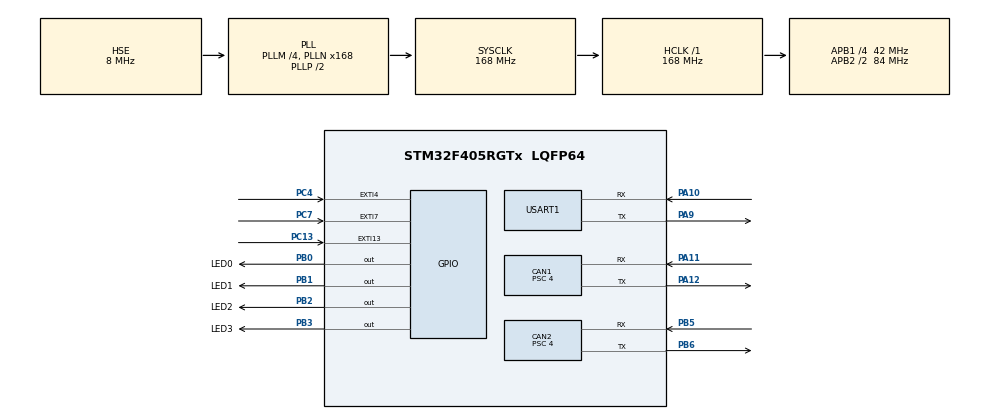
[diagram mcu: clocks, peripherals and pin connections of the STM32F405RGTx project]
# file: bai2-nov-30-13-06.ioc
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CAN1.ABOM=ENABLE
CAN1.AWUM=ENABLE
CAN1.BS1=CAN_BS1_16TQ
CAN1.BS2=CAN_BS2_4TQ
CAN1.CalculateBaudRate=500000
CAN1.CalculateTimeBit=2000
CAN1.CalculateTimeQuantum=95.23809523809524
CAN1.Prescaler=4
CAN1.SJW=CAN_SJW_2TQ
CAN2.ABOM=ENABLE
CAN2.AWUM=ENABLE
CAN2.BS1=CAN_BS1_16TQ
CAN2.BS2=CAN_BS2_4TQ
CAN2.CalculateBaudRate=500000
CAN2.CalculateTimeBit=2000
CAN2.CalculateTimeQuantum=95.23809523809524
CAN2.Prescaler=4
CAN2.SJW=CAN_SJW_2TQ
Mcu.Family=STM32F4
Mcu.Name=STM32F405RGTx
Mcu.Package=LQFP64
NVIC.CAN1_RX0_IRQn=true\:0\:0\:false\:false\:true\:true\:true\:true
NVIC.CAN2_RX1_IRQn=true\:0\:0\:false\:false\:true\:true\:true\:true
NVIC.EXTI15_10_IRQn=true\:0\:0\:false\:false\:true\:true\:true\:true
NVIC.EXTI4_IRQn=true\:0\:0\:false\:false\:true\:true\:true\:true
NVIC.EXTI9_5_IRQn=true\:0\:0\:false\:false\:true\:true\:true\:true
NVIC.PriorityGroup=NVIC_PRIORITYGROUP_4
NVIC.TIM2_IRQn=true\:0\:0\:false\:false\:true\:true\:true\:true
PA10.Mode=Asynchronous
PA10.Signal=USART1_RX
PA11.Mode=CAN_Activate
PA11.Signal=CAN1_RX
PA12.Mode=CAN_Activate
PA12.Signal=CAN1_TX
PA13.Mode=Serial_Wire
PA13.Signal=SYS_JTMS-SWDIO
PA14.Mode=Serial_Wire
PA14.Signal=SYS_JTCK-SWCLK
PA9.Mode=Asynchronous
PA9.Signal=USART1_TX
PB0.GPIO_Label=LED0
PB0.Signal=GPIO_Output
PB1.GPIO_Label=LED1
PB1.Signal=GPIO_Output
PB2.GPIO_Label=LED2
PB2.Signal=GPIO_Output
PB3.GPIO_Label=LED3
PB3.Signal=GPIO_Output
PB5.Mode=CAN_Activate
PB5.Signal=CAN2_RX
PB6.Mode=CAN_Activate
PB6.Signal=CAN2_TX
PC13-ANTI_TAMP.GPIO_PuPd=GPIO_PULLUP
PC13-ANTI_TAMP.Signal=GPXTI13
PC4.GPIO_PuPd=GPIO_PULLUP
PC4.Signal=GPXTI4
PC7.GPIO_PuPd=GPIO_PULLUP
PC7.Signal=GPXTI7
PH0-OSC_IN.Mode=HSE-External-Oscillator
PH0-OSC_IN.Signal=RCC_OSC_IN
PH1-OSC_OUT.Mode=HSE-External-Oscillator
PH1-OSC_OUT.Signal=RCC_OSC_OUT
ProjectManager.HeapSize=0x200
ProjectManager.StackSize=0x400
ProjectManager.TargetToolchain=STM32CubeIDE
RCC.48MHZClocksFreq_Value=84000000
RCC.AHBFreq_Value=168000000
RCC.APB1CLKDivider=RCC_HCLK_DIV4
RCC.APB1Freq_Value=42000000
RCC.APB1TimFreq_Value=84000000
RCC.APB2CLKDivider=RCC_HCLK_DIV2
RCC.APB2Freq_Value=84000000
RCC.APB2TimFreq_Value=168000000
RCC.CortexFreq_Value=168000000
RCC.HCLKFreq_Value=168000000
RCC.HSE_VALUE=8000000
RCC.HSI_VALUE=16000000
RCC.LSE_VALUE=32768
RCC.PLLM=4
RCC.PLLN=168
RCC.PLLSourceVirtual=RCC_PLLSOURCE_HSE
RCC.SYSCLKFreq_VALUE=168000000
RCC.SYSCLKSource=RCC_SYSCLKSOURCE_PLLCLK
RCC.VCOOutputFreq_Value=336000000
TIM2.Period=9999
TIM2.Prescaler=8399
USART1.VirtualMode=VM_ASYNC
VP_TIM2_VS_ClockSourceINT.Mode=Internal
board=custom

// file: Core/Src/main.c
/* USER CODE BEGIN Header */
/** bai2
 ******************************************************************************
 * @file           : main.c
 * @brief          : Main program body
 ******************************************************************************
 * @attention
 *
 * Copyright (c) 2022 STMicroelectronics.
 * All rights reserved.
 *
 * This software is licensed under terms that can be found in the LICENSE file
 * in the root directory of this software component.
 * If no LICENSE file comes with this software, it is provided AS-IS.
 *
 ******************************************************************************
 */
/* USER CODE END Header */
#include "main.h"

/* USER CODE BEGIN Includes */
#include <stdio.h>
#include <string.h>
/* USER CODE END Includes */

/* USER CODE BEGIN PD */
#define SIGNAL_LEN 6
/* USER CODE END PD */

CAN_HandleTypeDef hcan1;
CAN_HandleTypeDef hcan2;

TIM_HandleTypeDef htim2;

UART_HandleTypeDef huart1;

/* USER CODE BEGIN PV */
CAN_TxHeaderTypeDef Node1_TxHeader;
CAN_RxHeaderTypeDef Node1_RxHeader;

uint8_t Node1_TxData[8];
uint8_t Node1_RxData[8];

uint32_t Node1_TxMailbox;

int timer_rq = 0;
uint16_t var1 = 0;
uint8_t left_button = 0;
uint8_t right_button = 0;
uint8_t middle_button = 0;
uint16_t data_length;
uint8_t number_CF;
uint8_t current_pos;
uint8_t SNum;

uint8_t LEFT_DATA[SIGNAL_LEN] = {0xAA, 0xAA, 0xAA, 0xAA, 0xAA, 0xAA};
uint8_t RIGHT_DATA[SIGNAL_LEN] = {0xFF, 0xFF, 0xFF, 0xFF, 0xFF, 0xFF};
uint8_t MIDDLE_DATA[SIGNAL_LEN] = {0x00, 0x00, 0x00, 0x00, 0x00, 0x00};

uint8_t is_get_Write_data_by_id_node1 = 0;
uint8_t is_get_Write_data_by_id_node2 = 0;
CAN_TxHeaderTypeDef Node2_TxHeader;
CAN_RxHeaderTypeDef Node2_RxHeader;

uint8_t Node2_TxData[8];
uint8_t Node2_RxData[8];

uint32_t Node2_TxMailbox;
/* USER CODE END PV */

void SystemClock_Config(void);
static void MX_GPIO_Init(void);
static void MX_CAN1_Init(void);
static void MX_CAN2_Init(void);
static void MX_USART1_UART_Init(void);
static void MX_TIM2_Init(void);
/* USER CODE BEGIN PFP */
#ifdef __GNUC__
/* With GCC/RAISONANCE, small printf (option LD Linker->Libraries->Small printf
 set to 'Yes') calls __io_putchar() */
#define PUTCHAR_PROTOTYPE int __io_putchar(int ch)
#else
 #define PUTCHAR_PROTOTYPE int fputc(int ch, FILE *f)
#endif /* __GNUC__ */

/* USER CODE END PFP */

/* USER CODE BEGIN 0 */
void HAL_CAN_RxFifo0MsgPendingCallback(CAN_HandleTypeDef *hcan)
{
	HAL_CAN_GetRxMessage(hcan, CAN_RX_FIFO0, &Node1_RxHeader, Node1_RxData);
	if (Node1_RxHeader.StdId == 0x7A2 && (Node1_RxData[0] >> 4) == 0x3) //Flow control
	{
		HAL_GPIO_TogglePin(LED1_GPIO_Port, LED1_Pin);
		//printf("Tester received FC: %x-%x-%x-%x-%x-%x-%x-%x\r\n\n", Node1_RxData[0],Node1_RxData[1],Node1_RxData[2],Node1_RxData[3], Node1_RxData[4], Node1_RxData[5], Node1_RxData[6], Node1_RxData[7]);

		SNum = 0x00;

		if((data_length-3) % 7 == 0)
			number_CF = (data_length-3)/7;
		else
			number_CF = ((data_length-3)/7) + 1;

		if(left_button == 1 && SNum <= 0x0F)
		{
			for(int i = 0; i < number_CF; i++)
			{
				Node1_TxData[0] = 0x21 + SNum;
				SNum += 0x01;
				for(int j = 1; j<8; j++)
				{
					if(current_pos <= SIGNAL_LEN)
						Node1_TxData[j]=LEFT_DATA[current_pos++];
					else
						Node1_TxData[j] = 0x00;
				}

				//printf("Tester send CF: %x-%x-%x-%x-%x-%x-%x-%x\r\n", Node1_TxData[0],Node1_TxData[1],Node1_TxData[2],Node1_TxData[3], Node1_TxData[4], Node1_TxData[5], Node1_TxData[6], Node1_TxData[7]);
				HAL_CAN_AddTxMessage(&hcan1, &Node1_TxHeader, Node1_TxData, &Node1_TxMailbox);
			}
		left_button = 0;
		}

		else if(right_button == 1 && SNum <= 0x0F)
		{
			for(int i = 0; i < number_CF; i++)
			{
				Node1_TxData[0] = 0x21 + SNum;
				SNum += 0x01;
				for(int j = 1; j<8; j++)
				{
					if(current_pos <= SIGNAL_LEN)
						Node1_TxData[j]=RIGHT_DATA[current_pos++];
					else
						Node1_TxData[j] = 0x00;
				}

				printf("Tester send CF: %x-%x-%x-%x-%x-%x-%x-%x\r\n", Node1_TxData[0],Node1_TxData[1],Node1_TxData[2],Node1_TxData[3], Node1_TxData[4], Node1_TxData[5], Node1_TxData[6], Node1_TxData[7]);
				HAL_CAN_AddTxMessage(&hcan1, &Node1_TxHeader, Node1_TxData, &Node1_TxMailbox);
			}
		right_button = 0;
		}

		else if(middle_button == 1 && SNum <= 0x0F)
		{
			for(int i = 0; i < number_CF; i++)
			{
				Node1_TxData[0] = 0x21 + SNum;
				SNum += 0x01;
				for(int j = 1; j<8; j++)
				{
					if(current_pos <= SIGNAL_LEN)
						Node1_TxData[j]=MIDDLE_DATA[current_pos++];
					else
						Node1_TxData[j] = 0x00;
				}

				printf("Tester send CF: %x-%x-%x-%x-%x-%x-%x-%x\r\n", Node1_TxData[0],Node1_TxData[1],Node1_TxData[2],Node1_TxData[3], Node1_TxData[4], Node1_TxData[5], Node1_TxData[6], Node1_TxData[7]);
				HAL_CAN_AddTxMessage(&hcan1, &Node1_TxHeader, Node1_TxData, &Node1_TxMailbox);
			}
		middle_button = 0;
		}
	}
}

void HAL_CAN_RxFifo1MsgPendingCallback(CAN_HandleTypeDef *hcan)
{
	HAL_CAN_GetRxMessage(hcan, CAN_RX_FIFO1, &Node2_RxHeader, Node2_RxData);
	if (Node2_RxHeader.StdId == 0x712 && Node2_RxData[2] == 0x2E && (Node2_RxData[0] >> 4) == 0x1 && Node2_RxData[3] == 0xF0 && Node2_RxData[4] == 0x02) //write data by Identifier and First frame
	{

		HAL_GPIO_TogglePin(LED1_GPIO_Port, LED2_Pin);
		printf("MCU received FF: %x-%x-%x-%x-%x-%x-%x-%x\r\n\n", Node2_RxData[0],Node2_RxData[1],Node2_RxData[2],Node2_RxData[3], Node2_RxData[4], Node2_RxData[5], Node2_RxData[6], Node2_RxData[7]);

		Node2_TxData[0] = 0x30;
		Node2_TxData[1] = 0x00;
		Node2_TxData[2] = 0x00;
		Node2_TxData[3] = 0x00;	//2E + 40
		Node2_TxData[4] = 0x00;
		Node2_TxData[5] = 0x00;
		Node2_TxData[6] = 0x00;
		Node2_TxData[7] = 0x00;

		printf("MCU send FC: %x-%x-%x-%x-%x-%x-%x-%x\r\n", Node2_TxData[0],Node2_TxData[1],Node2_TxData[2],Node2_TxData[3], Node2_TxData[4], Node2_TxData[5], Node2_TxData[6], Node2_TxData[7]);
		HAL_CAN_AddTxMessage(&hcan2, &Node2_TxHeader, Node2_TxData, &Node2_TxMailbox);
	}

	if(Node2_RxHeader.StdId == 0x712 && (Node2_RxData[0] >> 4) == 0x2)
	{
		HAL_GPIO_TogglePin(LED1_GPIO_Port, LED2_Pin);
		printf("MCU received CF: %x-%x-%x-%x-%x-%x-%x-%x\r\n", Node2_RxData[0],Node2_RxData[1],Node2_RxData[2],Node2_RxData[3], Node2_RxData[4], Node2_RxData[5], Node2_RxData[6], Node2_RxData[7]);
	}
}
void HAL_TIM_PeriodElapsedCallback(TIM_HandleTypeDef *htim)
{
	if(htim->Instance == htim2.Instance)
	{
		timer_rq = 1;
	}
}

/* USER CODE END 0 */

int main(void)
{
  /* USER CODE BEGIN 1 */
	printf("Start programming 0...\r\n");
  /* USER CODE END 1 */

  /* MCU Configuration--------------------------------------------------------*/

  /* Reset of all peripherals, Initializes the Flash interface and the Systick. */
  HAL_Init();

  /* Configure the system clock */
  SystemClock_Config();

  /* Initialize all configured peripherals */
  MX_GPIO_Init();
  MX_CAN1_Init();
  MX_CAN2_Init();
  MX_USART1_UART_Init();
  MX_TIM2_Init();
  /* USER CODE BEGIN 2 */
  HAL_CAN_Start(&hcan1);
  HAL_CAN_Start(&hcan2);
  // start timer 2
  HAL_TIM_Base_Start_IT(&htim2);

  // Activate the notification
  HAL_CAN_ActivateNotification(&hcan1, CAN_IT_RX_FIFO0_MSG_PENDING);
  // Activate the notification
  HAL_CAN_ActivateNotification(&hcan2, CAN_IT_RX_FIFO1_MSG_PENDING);

  Node1_TxHeader.DLC = 8;  // data length
  Node1_TxHeader.IDE = CAN_ID_STD;
  Node1_TxHeader.RTR = CAN_RTR_DATA;
  Node1_TxHeader.StdId = 0x712;  // ID

  //FF: First Frame
  Node1_TxData[0] = 0x10;
  Node1_TxData[1] = 0x0A;
  Node1_TxData[2] = 0x2E;
  Node1_TxData[3] = 0xF0;
  Node1_TxData[4] = 0x02;
  Node1_TxData[5] = 0x00;
  Node1_TxData[6] = 0x00;
  Node1_TxData[7] = 0x00;

  Node2_TxHeader.DLC = 8;  // data length
  Node2_TxHeader.IDE = CAN_ID_STD;
  Node2_TxHeader.RTR = CAN_RTR_DATA;
  Node2_TxHeader.StdId = 0x7A2;  // ID

  Node2_TxData[0] = 0x00;
  Node2_TxData[1] = 0x00;
  Node2_TxData[2] = 0x00;
  Node2_TxData[3] = 0x00;
  Node2_TxData[4] = 0x00;
  Node2_TxData[5] = 0x00;
  Node2_TxData[6] = 0x00;
  Node2_TxData[7] = 0x00;

	printf("Start programming 1...\r\n");
  /* USER CODE END 2 */

  /* Infinite loop */
  while (1)
  {

    /* USER CODE BEGIN 3 */

	  HAL_GPIO_TogglePin(LED0_GPIO_Port, LED0_Pin);
	  if ((left_button == 1) || (right_button == 1) || (middle_button == 1))
	  {
		  //Send first frame
		  current_pos = 0;

		  Node1_TxData[0] = 0x10;
		  Node1_TxData[1] = 0x0A; // 0x019 : 0000 0001 1001
		  Node1_TxData[2] = 0x2E;

		  //DATA ID
		  Node1_TxData[3] = 0xF0;
		  Node1_TxData[4] = 0x02;

		  if(left_button == 1)
		  {
			  Node1_TxData[5] = LEFT_DATA[current_pos++];
		  	  Node1_TxData[6] = LEFT_DATA[current_pos++];
		  	  Node1_TxData[7] = LEFT_DATA[current_pos++];
		  }
		  else if(right_button == 1)
		  {
			  Node1_TxData[5] = RIGHT_DATA[current_pos++];
			  Node1_TxData[6] = RIGHT_DATA[current_pos++];
			  Node1_TxData[7] = RIGHT_DATA[current_pos++];
		  }
		  else if(middle_button == 1)
		  {
			  Node1_TxData[5] = MIDDLE_DATA[current_pos++];
			  Node1_TxData[6] = MIDDLE_DATA[current_pos++];
			  Node1_TxData[7] = MIDDLE_DATA[current_pos++];
		  }

		  data_length = (Node1_TxData[0] & 0x0f) + Node1_TxData[1];

		  //printf("\n\n\n\nTester send FF: %x-%x-%x-%x-%x-%x-%x-%x\r\n", Node1_TxData[0], Node1_TxData[1],Node1_TxData[2],Node1_TxData[3], Node1_TxData[4], Node1_TxData[5], Node1_TxData[6], Node1_TxData[7]);
		  HAL_CAN_AddTxMessage(&hcan1, &Node1_TxHeader, Node1_TxData, &Node1_TxMailbox);
	  }
	  HAL_Delay(10);

  }
  /* USER CODE END 3 */
}

void SystemClock_Config(void)
{
  RCC_OscInitTypeDef RCC_OscInitStruct = {0};
  RCC_ClkInitTypeDef RCC_ClkInitStruct = {0};

  /** Configure the main internal regulator output voltage
  */
  __HAL_RCC_PWR_CLK_ENABLE();
  __HAL_PWR_VOLTAGESCALING_CONFIG(PWR_REGULATOR_VOLTAGE_SCALE1);

  /** Initializes the RCC Oscillators according to the specified parameters
  * in the RCC_OscInitTypeDef structure.
  */
  RCC_OscInitStruct.OscillatorType = RCC_OSCILLATORTYPE_HSE;
  RCC_OscInitStruct.HSEState = RCC_HSE_ON;
  RCC_OscInitStruct.PLL.PLLState = RCC_PLL_ON;
  RCC_OscInitStruct.PLL.PLLSource = RCC_PLLSOURCE_HSE;
  RCC_OscInitStruct.PLL.PLLM = 4;
  RCC_OscInitStruct.PLL.PLLN = 168;
  RCC_OscInitStruct.PLL.PLLP = RCC_PLLP_DIV2;
  RCC_OscInitStruct.PLL.PLLQ = 4;
  if (HAL_RCC_OscConfig(&RCC_OscInitStruct) != HAL_OK)
  {
    Error_Handler();
  }

  /** Initializes the CPU, AHB and APB buses clocks
  */
  RCC_ClkInitStruct.ClockType = RCC_CLOCKTYPE_HCLK|RCC_CLOCKTYPE_SYSCLK
                              |RCC_CLOCKTYPE_PCLK1|RCC_CLOCKTYPE_PCLK2;
  RCC_ClkInitStruct.SYSCLKSource = RCC_SYSCLKSOURCE_PLLCLK;
  RCC_ClkInitStruct.AHBCLKDivider = RCC_SYSCLK_DIV1;
  RCC_ClkInitStruct.APB1CLKDivider = RCC_HCLK_DIV4;
  RCC_ClkInitStruct.APB2CLKDivider = RCC_HCLK_DIV2;

  if (HAL_RCC_ClockConfig(&RCC_ClkInitStruct, FLASH_LATENCY_5) != HAL_OK)
  {
    Error_Handler();
  }
}

static void MX_CAN1_Init(void)
{

  hcan1.Instance = CAN1;
  hcan1.Init.Prescaler = 4;
  hcan1.Init.Mode = CAN_MODE_NORMAL;
  hcan1.Init.SyncJumpWidth = CAN_SJW_2TQ;
  hcan1.Init.TimeSeg1 = CAN_BS1_16TQ;
  hcan1.Init.TimeSeg2 = CAN_BS2_4TQ;
  hcan1.Init.TimeTriggeredMode = DISABLE;
  hcan1.Init.AutoBusOff = ENABLE;
  hcan1.Init.AutoWakeUp = ENABLE;
  hcan1.Init.AutoRetransmission = DISABLE;
  hcan1.Init.ReceiveFifoLocked = DISABLE;
  hcan1.Init.TransmitFifoPriority = DISABLE;
  if (HAL_CAN_Init(&hcan1) != HAL_OK)
  {
    Error_Handler();
  }
  /* USER CODE BEGIN CAN1_Init 2 */
  CAN_FilterTypeDef canfilterconfig;

  canfilterconfig.FilterActivation = CAN_FILTER_ENABLE;
  canfilterconfig.FilterBank = 18; // which filter bank to use from the assigned ones
  canfilterconfig.FilterFIFOAssignment = CAN_FILTER_FIFO0;
  canfilterconfig.FilterIdHigh = 0x7A2 << 5;
  canfilterconfig.FilterIdLow = 0;
  canfilterconfig.FilterMaskIdHigh = 0x7A2 << 5;
  canfilterconfig.FilterMaskIdLow = 0x0000;
  canfilterconfig.FilterMode = CAN_FILTERMODE_IDMASK;
  canfilterconfig.FilterScale = CAN_FILTERSCALE_32BIT;
  canfilterconfig.SlaveStartFilterBank = 20; // how many filters to assign to the CAN1 (master can)

  HAL_CAN_ConfigFilter(&hcan1, &canfilterconfig);
  /* USER CODE END CAN1_Init 2 */

}

static void MX_CAN2_Init(void)
{

  hcan2.Instance = CAN2;
  hcan2.Init.Prescaler = 4;
  hcan2.Init.Mode = CAN_MODE_NORMAL;
  hcan2.Init.SyncJumpWidth = CAN_SJW_2TQ;
  hcan2.Init.TimeSeg1 = CAN_BS1_16TQ;
  hcan2.Init.TimeSeg2 = CAN_BS2_4TQ;
  hcan2.Init.TimeTriggeredMode = DISABLE;
  hcan2.Init.AutoBusOff = ENABLE;
  hcan2.Init.AutoWakeUp = ENABLE;
  hcan2.Init.AutoRetransmission = DISABLE;
  hcan2.Init.ReceiveFifoLocked = DISABLE;
  hcan2.Init.TransmitFifoPriority = DISABLE;
  if (HAL_CAN_Init(&hcan2) != HAL_OK)
  {
    Error_Handler();
  }
  /* USER CODE BEGIN CAN2_Init 2 */
  CAN_FilterTypeDef canfilterconfig;

  canfilterconfig.FilterActivation = CAN_FILTER_ENABLE;
  canfilterconfig.FilterBank = 10; // which filter bank to use from the assigned ones
  canfilterconfig.FilterFIFOAssignment = CAN_FILTER_FIFO1;
  canfilterconfig.FilterIdHigh = 0x712 << 5;
  canfilterconfig.FilterIdLow = 0;
  canfilterconfig.FilterMaskIdHigh = 0x712 << 5;
  canfilterconfig.FilterMaskIdLow = 0x0000;
  canfilterconfig.FilterMode = CAN_FILTERMODE_IDMASK;
  canfilterconfig.FilterScale = CAN_FILTERSCALE_32BIT;
  canfilterconfig.SlaveStartFilterBank = 0; // doesn't matter in single can controllers

  HAL_CAN_ConfigFilter(&hcan2, &canfilterconfig);
  /* USER CODE END CAN2_Init 2 */

}

static void MX_TIM2_Init(void)
{

  TIM_ClockConfigTypeDef sClockSourceConfig = {0};
  TIM_MasterConfigTypeDef sMasterConfig = {0};

  htim2.Instance = TIM2;
  htim2.Init.Prescaler = 8399;
  htim2.Init.CounterMode = TIM_COUNTERMODE_UP;
  htim2.Init.Period = 9999;
  htim2.Init.ClockDivision = TIM_CLOCKDIVISION_DIV1;
  htim2.Init.AutoReloadPreload = TIM_AUTORELOAD_PRELOAD_DISABLE;
  if (HAL_TIM_Base_Init(&htim2) != HAL_OK)
  {
    Error_Handler();
  }
  sClockSourceConfig.ClockSource = TIM_CLOCKSOURCE_INTERNAL;
  if (HAL_TIM_ConfigClockSource(&htim2, &sClockSourceConfig) != HAL_OK)
  {
    Error_Handler();
  }
  sMasterConfig.MasterOutputTrigger = TIM_TRGO_RESET;
  sMasterConfig.MasterSlaveMode = TIM_MASTERSLAVEMODE_DISABLE;
  if (HAL_TIMEx_MasterConfigSynchronization(&htim2, &sMasterConfig) != HAL_OK)
  {
    Error_Handler();
  }

}

static void MX_USART1_UART_Init(void)
{

  huart1.Instance = USART1;
  huart1.Init.BaudRate = 115200;
  huart1.Init.WordLength = UART_WORDLENGTH_8B;
  huart1.Init.StopBits = UART_STOPBITS_1;
  huart1.Init.Parity = UART_PARITY_NONE;
  huart1.Init.Mode = UART_MODE_TX_RX;
  huart1.Init.HwFlowCtl = UART_HWCONTROL_NONE;
  huart1.Init.OverSampling = UART_OVERSAMPLING_16;
  if (HAL_UART_Init(&huart1) != HAL_OK)
  {
    Error_Handler();
  }

}

static void MX_GPIO_Init(void)
{
  GPIO_InitTypeDef GPIO_InitStruct = {0};

  /* GPIO Ports Clock Enable */
  __HAL_RCC_GPIOC_CLK_ENABLE();
  __HAL_RCC_GPIOH_CLK_ENABLE();
  __HAL_RCC_GPIOB_CLK_ENABLE();
  __HAL_RCC_GPIOA_CLK_ENABLE();

  /*Configure GPIO pin Output Level */
  HAL_GPIO_WritePin(GPIOB, LED0_Pin|LED1_Pin|LED2_Pin|LED3_Pin, GPIO_PIN_RESET);

  /*Configure GPIO pins : PC13 PC4 PC7 */
  GPIO_InitStruct.Pin = GPIO_PIN_13|GPIO_PIN_4|GPIO_PIN_7;
  GPIO_InitStruct.Mode = GPIO_MODE_IT_RISING;
  GPIO_InitStruct.Pull = GPIO_PULLUP;
  HAL_GPIO_Init(GPIOC, &GPIO_InitStruct);

  /*Configure GPIO pins : LED0_Pin LED1_Pin LED2_Pin LED3_Pin */
  GPIO_InitStruct.Pin = LED0_Pin|LED1_Pin|LED2_Pin|LED3_Pin;
  GPIO_InitStruct.Mode = GPIO_MODE_OUTPUT_PP;
  GPIO_InitStruct.Pull = GPIO_NOPULL;
  GPIO_InitStruct.Speed = GPIO_SPEED_FREQ_LOW;
  HAL_GPIO_Init(GPIOB, &GPIO_InitStruct);

  /* EXTI interrupt init*/
  HAL_NVIC_SetPriority(EXTI4_IRQn, 0, 0);
  HAL_NVIC_EnableIRQ(EXTI4_IRQn);

  HAL_NVIC_SetPriority(EXTI9_5_IRQn, 0, 0);
  HAL_NVIC_EnableIRQ(EXTI9_5_IRQn);

  HAL_NVIC_SetPriority(EXTI15_10_IRQn, 0, 0);
  HAL_NVIC_EnableIRQ(EXTI15_10_IRQn);

}

/* USER CODE BEGIN 4 */
/**
 * @brief Retargets the C library printf function to the USART.
 * @param None
 * @retval None
 */
PUTCHAR_PROTOTYPE
{
  /* Place your implementation of fputc here */
  /* e.g. write a character to the USART */
  HAL_UART_Transmit(&huart1, (uint8_t*) &ch, 1, 300);
  return ch;
}

void HAL_GPIO_EXTI_Callback( uint16_t GPIO_Pin)
{
	if(GPIO_Pin == GPIO_PIN_4){
		left_button = 1;
	}
	else if (GPIO_Pin == GPIO_PIN_7){
		right_button = 1;
	}
	else if (GPIO_Pin == GPIO_PIN_13){
			middle_button = 1;
		}

}
/* USER CODE END 4 */

void Error_Handler(void)
{
  __disable_irq();
  while (1)
  {
  }
}
